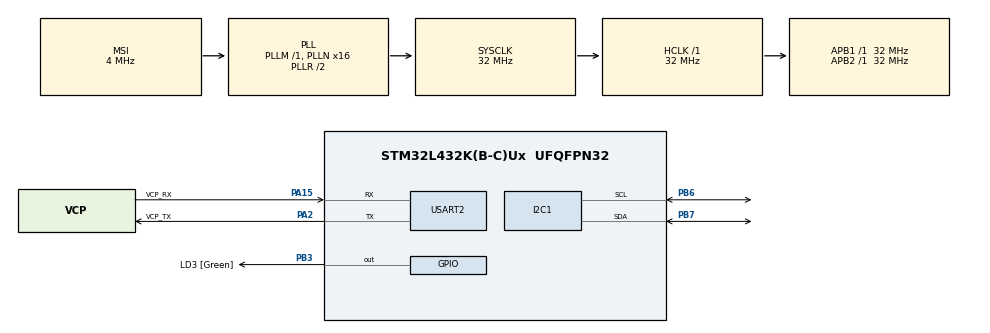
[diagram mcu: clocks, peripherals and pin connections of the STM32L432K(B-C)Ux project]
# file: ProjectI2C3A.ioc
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I2C1.I2C_Rise_Time=0
I2C1.Timing=0x40101A22
Mcu.Family=STM32L4
Mcu.Name=STM32L432K(B-C)Ux
Mcu.Package=UFQFPN32
NVIC.PriorityGroup=NVIC_PRIORITYGROUP_4
PA0.GPIO_Label=MCO [High speed clock in]
PA0.Mode=HSE-External-Clock-Source-for-LittleOrca
PA0.Signal=RCC_CK_IN
PA13\ (JTMS-SWDIO).GPIO_Label=SWDIO
PA13\ (JTMS-SWDIO).Mode=Serial_Wire
PA13\ (JTMS-SWDIO).Signal=SYS_JTMS-SWDIO
PA14\ (JTCK-SWCLK).GPIO_Label=SWCLK
PA14\ (JTCK-SWCLK).Mode=Serial_Wire
PA14\ (JTCK-SWCLK).Signal=SYS_JTCK-SWCLK
PA15\ (JTDI).GPIO_Label=VCP_RX
PA15\ (JTDI).Mode=Asynchronous
PA15\ (JTDI).Signal=USART2_RX
PA2.GPIO_Label=VCP_TX
PA2.Mode=Asynchronous
PA2.Signal=USART2_TX
PB3\ (JTDO-TRACESWO).GPIO_Label=LD3 [Green]
PB3\ (JTDO-TRACESWO).Signal=GPIO_Output
PB6.GPIO_Pu=GPIO_PULLUP
PB6.Mode=I2C
PB6.Signal=I2C1_SCL
PB7.GPIO_Pu=GPIO_PULLUP
PB7.Mode=I2C
PB7.Signal=I2C1_SDA
PC14-OSC32_IN\ (PC14).Mode=LSE-External-Oscillator
PC14-OSC32_IN\ (PC14).Signal=RCC_OSC32_IN
PC15-OSC32_OUT\ (PC15).Mode=LSE-External-Oscillator
PC15-OSC32_OUT\ (PC15).Signal=RCC_OSC32_OUT
ProjectManager.HeapSize=0x200
ProjectManager.StackSize=0x400
ProjectManager.TargetToolchain=STM32CubeIDE
RCC.AHBFreq_Value=32000000
RCC.APB1Freq_Value=32000000
RCC.APB1TimFreq_Value=32000000
RCC.APB2Freq_Value=32000000
RCC.APB2TimFreq_Value=32000000
RCC.CortexFreq_Value=32000000
RCC.HCLKFreq_Value=32000000
RCC.HSE_VALUE=8000000
RCC.HSI16_VALUE=16000000
RCC.HSI48_VALUE=48000000
RCC.HSI_VALUE=16000000
RCC.MSI_VALUE=4000000
RCC.PLLMUL=RCC_PLLMUL_4
RCC.PLLN=16
RCC.SYSCLKFreq_VALUE=32000000
RCC.SYSCLKSource=RCC_SYSCLKSOURCE_PLLCLK
RCC.VCOOutputFreq_Value=64000000
USART2.VirtualMode-Asynchronous=VM_ASYNC
board=NUCLEO-L432KC

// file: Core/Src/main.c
/* USER CODE BEGIN Header */
/**
  ******************************************************************************
  * @file           : main.c
  * @brief          : Main program body
  ******************************************************************************
  * @attention
  *
  * Copyright (c) 2026 STMicroelectronics.
  * All rights reserved.
  *
  * This software is licensed under terms that can be found in the LICENSE file
  * in the root directory of this software component.
  * If no LICENSE file comes with this software, it is provided AS-IS.
  *
  ******************************************************************************
  */
/* USER CODE END Header */
#include "main.h"

/* USER CODE BEGIN Includes */
#include <stdlib.h>
#include <stdio.h>
#include <string.h>
/* USER CODE END Includes */

/* USER CODE BEGIN PD */
#define MCP_ADDR 0x20 << 1
#define MCP_ADDR_GPIOA 0x12
#define MCP_ADDR_GPIOB 0x13
#define MCP_ADDR_GPIOAIO 0x00
#define MCP_ADDR_GPIOBIO 0x01
#define MCP_ADDR_PULLUPB 0x0D
/* USER CODE END PD */

I2C_HandleTypeDef hi2c1;

UART_HandleTypeDef huart2;

void SystemClock_Config(void);
static void MX_GPIO_Init(void);
static void MX_I2C1_Init(void);
static void MX_USART2_UART_Init(void);

int main(void)
{

  /* MCU Configuration--------------------------------------------------------*/

  /* Reset of all peripherals, Initializes the Flash interface and the Systick. */
  HAL_Init();

  /* Configure the system clock */
  SystemClock_Config();

  /* Initialize all configured peripherals */
  MX_GPIO_Init();
  MX_I2C1_Init();
  MX_USART2_UART_Init();
  /* USER CODE BEGIN 2 */
  uint8_t iodirBuffer = 0x00; // All pins as output
  HAL_I2C_Mem_Write(&hi2c1, MCP_ADDR, MCP_ADDR_GPIOAIO, I2C_MEMADD_SIZE_8BIT, &iodirBuffer, 1, HAL_MAX_DELAY);

  uint8_t gpioaBuffer = 0x03; // 0b00000011 → LED0 and LED1 on
  HAL_I2C_Mem_Write(&hi2c1, MCP_ADDR, MCP_ADDR_GPIOA, I2C_MEMADD_SIZE_8BIT, &gpioaBuffer, 1, HAL_MAX_DELAY);

  uint8_t readBuffer = 0;
  HAL_I2C_Mem_Read(&hi2c1, MCP_ADDR, MCP_ADDR_GPIOA, I2C_MEMADD_SIZE_8BIT, &readBuffer, 1, HAL_MAX_DELAY);

  if(readBuffer == gpioaBuffer) {
	  HAL_UART_Transmit(&huart2, //pointer naar struct
	    	  	  			"leds correct", //pointer naar data
	    	  	  	  	  	12, //Lengte
	    	  	  	  		500); //TimeoutHAL_UART_TRANSMIT();
  } else {
	  HAL_UART_Transmit(&huart2, //pointer naar struct
	  	    	  	  			"leds incorrect", //pointer naar data
	  	    	  	  	  	  	14, //Lengte
	  	    	  	  	  		500); //TimeoutHAL_UART_TRANSMIT();
  }

  uint8_t pullupBuffer = 0x01;
  HAL_I2C_Mem_Write(&hi2c1, MCP_ADDR, MCP_ADDR_PULLUPB, I2C_MEMADD_SIZE_8BIT, &pullupBuffer, 1, HAL_MAX_DELAY);

  uint8_t iodirBufferB = 0x01;
  HAL_I2C_Mem_Write(&hi2c1, MCP_ADDR, MCP_ADDR_GPIOBIO, I2C_MEMADD_SIZE_8BIT, &iodirBufferB, 1, HAL_MAX_DELAY);

  /* USER CODE END 2 */

  /* Infinite loop */
  while (1)
  {
	  HAL_Delay(1000);
	  uint8_t buttonBuffer = 0x00;
	  HAL_I2C_Mem_Read(&hi2c1, MCP_ADDR, MCP_ADDR_GPIOB, I2C_MEMADD_SIZE_8BIT, &buttonBuffer, 1, HAL_MAX_DELAY);
	  char printBuffer[20] = "";
	  sprintf(printBuffer, "%d\n\r\0", buttonBuffer);
	  HAL_UART_Transmit(&huart2, //pointer naar struct
	  	    	  	  			printBuffer, //pointer naar data
	  	    	  	  	  	  	strlen(printBuffer), //Lengte
	  	    	  	  	  		500); //TimeoutHAL_UART_TRANSMIT();

	  if (buttonBuffer >= 1) {
		  gpioaBuffer = 0x01;
	  } else {
		  gpioaBuffer = 0x00;
	  }
	  HAL_I2C_Mem_Write(&hi2c1, MCP_ADDR, MCP_ADDR_GPIOA, I2C_MEMADD_SIZE_8BIT, &gpioaBuffer, 1, HAL_MAX_DELAY);
	  HAL_Delay(1000);
	  gpioaBuffer = 0x03;
	  HAL_I2C_Mem_Write(&hi2c1, MCP_ADDR, MCP_ADDR_GPIOA, I2C_MEMADD_SIZE_8BIT, &gpioaBuffer, 1, HAL_MAX_DELAY);
  }
}

void SystemClock_Config(void)
{
  RCC_OscInitTypeDef RCC_OscInitStruct = {0};
  RCC_ClkInitTypeDef RCC_ClkInitStruct = {0};

  /** Configure the main internal regulator output voltage
  */
  if (HAL_PWREx_ControlVoltageScaling(PWR_REGULATOR_VOLTAGE_SCALE1) != HAL_OK)
  {
    Error_Handler();
  }

  /** Configure LSE Drive Capability
  */
  HAL_PWR_EnableBkUpAccess();
  __HAL_RCC_LSEDRIVE_CONFIG(RCC_LSEDRIVE_LOW);

  /** Initializes the RCC Oscillators according to the specified parameters
  * in the RCC_OscInitTypeDef structure.
  */
  RCC_OscInitStruct.OscillatorType = RCC_OSCILLATORTYPE_LSE|RCC_OSCILLATORTYPE_MSI;
  RCC_OscInitStruct.LSEState = RCC_LSE_ON;
  RCC_OscInitStruct.MSIState = RCC_MSI_ON;
  RCC_OscInitStruct.MSICalibrationValue = 0;
  RCC_OscInitStruct.MSIClockRange = RCC_MSIRANGE_6;
  RCC_OscInitStruct.PLL.PLLState = RCC_PLL_ON;
  RCC_OscInitStruct.PLL.PLLSource = RCC_PLLSOURCE_MSI;
  RCC_OscInitStruct.PLL.PLLM = 1;
  RCC_OscInitStruct.PLL.PLLN = 16;
  RCC_OscInitStruct.PLL.PLLP = RCC_PLLP_DIV7;
  RCC_OscInitStruct.PLL.PLLQ = RCC_PLLQ_DIV2;
  RCC_OscInitStruct.PLL.PLLR = RCC_PLLR_DIV2;
  if (HAL_RCC_OscConfig(&RCC_OscInitStruct) != HAL_OK)
  {
    Error_Handler();
  }

  /** Initializes the CPU, AHB and APB buses clocks
  */
  RCC_ClkInitStruct.ClockType = RCC_CLOCKTYPE_HCLK|RCC_CLOCKTYPE_SYSCLK
                              |RCC_CLOCKTYPE_PCLK1|RCC_CLOCKTYPE_PCLK2;
  RCC_ClkInitStruct.SYSCLKSource = RCC_SYSCLKSOURCE_PLLCLK;
  RCC_ClkInitStruct.AHBCLKDivider = RCC_SYSCLK_DIV1;
  RCC_ClkInitStruct.APB1CLKDivider = RCC_HCLK_DIV1;
  RCC_ClkInitStruct.APB2CLKDivider = RCC_HCLK_DIV1;

  if (HAL_RCC_ClockConfig(&RCC_ClkInitStruct, FLASH_LATENCY_1) != HAL_OK)
  {
    Error_Handler();
  }

  /** Enable MSI Auto calibration
  */
  HAL_RCCEx_EnableMSIPLLMode();
}

static void MX_I2C1_Init(void)
{

  hi2c1.Instance = I2C1;
  hi2c1.Init.Timing = 0x40101A22;
  hi2c1.Init.OwnAddress1 = 0;
  hi2c1.Init.AddressingMode = I2C_ADDRESSINGMODE_7BIT;
  hi2c1.Init.DualAddressMode = I2C_DUALADDRESS_DISABLE;
  hi2c1.Init.OwnAddress2 = 0;
  hi2c1.Init.OwnAddress2Masks = I2C_OA2_NOMASK;
  hi2c1.Init.GeneralCallMode = I2C_GENERALCALL_DISABLE;
  hi2c1.Init.NoStretchMode = I2C_NOSTRETCH_DISABLE;
  if (HAL_I2C_Init(&hi2c1) != HAL_OK)
  {
    Error_Handler();
  }

  /** Configure Analogue filter
  */
  if (HAL_I2CEx_ConfigAnalogFilter(&hi2c1, I2C_ANALOGFILTER_ENABLE) != HAL_OK)
  {
    Error_Handler();
  }

  /** Configure Digital filter
  */
  if (HAL_I2CEx_ConfigDigitalFilter(&hi2c1, 0) != HAL_OK)
  {
    Error_Handler();
  }

}

static void MX_USART2_UART_Init(void)
{

  huart2.Instance = USART2;
  huart2.Init.BaudRate = 115200;
  huart2.Init.WordLength = UART_WORDLENGTH_8B;
  huart2.Init.StopBits = UART_STOPBITS_1;
  huart2.Init.Parity = UART_PARITY_NONE;
  huart2.Init.Mode = UART_MODE_TX_RX;
  huart2.Init.HwFlowCtl = UART_HWCONTROL_NONE;
  huart2.Init.OverSampling = UART_OVERSAMPLING_16;
  huart2.Init.OneBitSampling = UART_ONE_BIT_SAMPLE_DISABLE;
  huart2.AdvancedInit.AdvFeatureInit = UART_ADVFEATURE_NO_INIT;
  if (HAL_UART_Init(&huart2) != HAL_OK)
  {
    Error_Handler();
  }

}

static void MX_GPIO_Init(void)
{
  GPIO_InitTypeDef GPIO_InitStruct = {0};

  /* GPIO Ports Clock Enable */
  __HAL_RCC_GPIOC_CLK_ENABLE();
  __HAL_RCC_GPIOA_CLK_ENABLE();
  __HAL_RCC_GPIOB_CLK_ENABLE();

  /*Configure GPIO pin Output Level */
  HAL_GPIO_WritePin(LD3_GPIO_Port, LD3_Pin, GPIO_PIN_RESET);

  /*Configure GPIO pin : LD3_Pin */
  GPIO_InitStruct.Pin = LD3_Pin;
  GPIO_InitStruct.Mode = GPIO_MODE_OUTPUT_PP;
  GPIO_InitStruct.Pull = GPIO_NOPULL;
  GPIO_InitStruct.Speed = GPIO_SPEED_FREQ_LOW;
  HAL_GPIO_Init(LD3_GPIO_Port, &GPIO_InitStruct);

}

void Error_Handler(void)
{
  __disable_irq();
  while (1)
  {
  }
}
